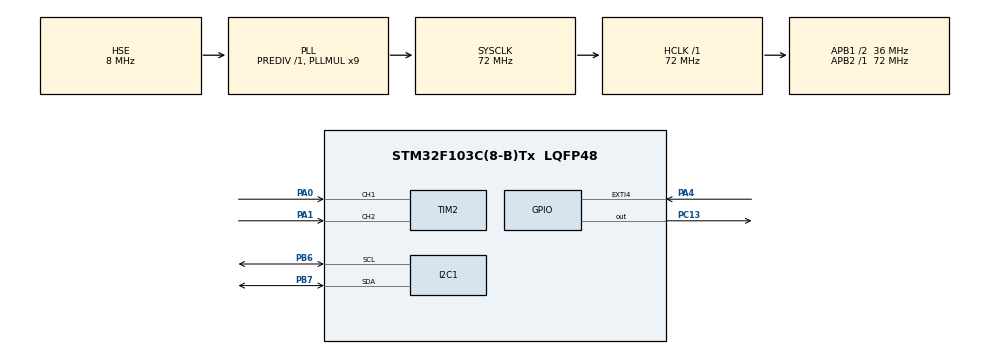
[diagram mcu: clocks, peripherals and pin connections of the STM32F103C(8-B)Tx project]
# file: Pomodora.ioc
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I2C1.I2C_Mode=I2C_Fast
Mcu.Family=STM32F1
Mcu.Name=STM32F103C(8-B)Tx
Mcu.Package=LQFP48
NVIC.EXTI4_IRQn=true\:0\:0\:false\:false\:true\:true\:true\:true
NVIC.PriorityGroup=NVIC_PRIORITYGROUP_4
NVIC.TIM2_IRQn=true\:0\:0\:false\:false\:true\:true\:true\:true
PA0-WKUP.Signal=S_TIM2_CH1_ETR
PA1.Signal=S_TIM2_CH2
PA13.Mode=Serial_Wire
PA13.Signal=SYS_JTMS-SWDIO
PA14.Mode=Serial_Wire
PA14.Signal=SYS_JTCK-SWCLK
PA4.GPIO_ModeDefaultEXTI=GPIO_MODE_IT_FALLING
PA4.GPIO_PuPd=GPIO_PULLUP
PA4.Signal=GPXTI4
PB6.Mode=I2C
PB6.Signal=I2C1_SCL
PB7.Mode=I2C
PB7.Signal=I2C1_SDA
PC13-TAMPER-RTC.Signal=GPIO_Output
PD0-OSC_IN.Mode=HSE-External-Oscillator
PD0-OSC_IN.Signal=RCC_OSC_IN
PD1-OSC_OUT.Mode=HSE-External-Oscillator
PD1-OSC_OUT.Signal=RCC_OSC_OUT
ProjectManager.HeapSize=0x200
ProjectManager.StackSize=0x400
ProjectManager.TargetToolchain=STM32CubeIDE
RCC.AHBFreq_Value=72000000
RCC.APB1CLKDivider=RCC_HCLK_DIV2
RCC.APB1Freq_Value=36000000
RCC.APB1TimFreq_Value=72000000
RCC.APB2Freq_Value=72000000
RCC.APB2TimFreq_Value=72000000
RCC.HCLKFreq_Value=72000000
RCC.PLLMUL=RCC_PLL_MUL9
RCC.PLLSourceVirtual=RCC_PLLSOURCE_HSE
RCC.SYSCLKFreq_VALUE=72000000
RCC.SYSCLKSource=RCC_SYSCLKSOURCE_PLLCLK
RCC.USBFreq_Value=72000000
SH.S_TIM2_CH1_ETR.0=TIM2_CH1,Encoder_Interface
SH.S_TIM2_CH2.0=TIM2_CH2,Encoder_Interface
TIM2.EncoderMode=TIM_ENCODERMODE_TI12
TIM2.IC1Polarity=TIM_ICPOLARITY_RISING
TIM2.IC2Polarity=TIM_ICPOLARITY_RISING
board=custom

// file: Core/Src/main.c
/* USER CODE BEGIN Header */
/**
 ******************************************************************************
 * @file           : main.c
 * @brief          : Main program body
 ******************************************************************************
 * @attention
 *
 * Copyright (c) 2024 STMicroelectronics.
 * All rights reserved.
 *
 * This software is licensed under terms that can be found in the LICENSE file
 * in the root directory of this software component.
 * If no LICENSE file comes with this software, it is provided AS-IS.
 *
 ******************************************************************************
 */
/* USER CODE END Header */
#include "main.h"

/* USER CODE BEGIN Includes */
#include "display.h"
#include "fonts.h"
#include "pomodoro.h"
#include "rotaryencoder.h"
#include "ssd1306.h"

/* USER CODE END Includes */

I2C_HandleTypeDef hi2c1;

TIM_HandleTypeDef htim2;

/* USER CODE BEGIN PV */
struct PomodoroState pomodoro;

/* USER CODE END PV */

void SystemClock_Config(void);
static void MX_GPIO_Init(void);
static void MX_TIM2_Init(void);
static void MX_I2C1_Init(void);

/* USER CODE BEGIN 0 */

void HAL_TIM_IC_CaptureCallback(TIM_HandleTypeDef *htim) {
    uint32_t position = __HAL_TIM_GET_COUNTER(htim);
    if (position % 4 == 0) {
        RotaryEncoder_Rotated(position, Pomodoro_IncTime, Pomodoro_DecTime);
    }
}

void HAL_GPIO_EXTI_Callback(uint16_t GPIO_Pin) {
    uint32_t curmilli = HAL_GetTick();

    GPIO_PinState state = HAL_GPIO_ReadPin(GPIOA, GPIO_PIN_4);
    if (GPIO_Pin == GPIO_PIN_4 && state == GPIO_PIN_RESET) {
        RotaryEncoder_ButtonPressed(curmilli, Pomodoro_Select, Pomodoro_Reset);
    }
}

/* USER CODE END 0 */

int main(void) {

    /* MCU Configuration--------------------------------------------------------*/

    /* Reset of all peripherals, Initializes the Flash interface and the Systick. */
    HAL_Init();

    /* Configure the system clock */
    SystemClock_Config();

    /* Initialize all configured peripherals */
    MX_GPIO_Init();
    MX_TIM2_Init();
    MX_I2C1_Init();
    /* USER CODE BEGIN 2 */

    RotaryEncoder_Init();
    Pomodoro_Init(25, 5, 0);
    SSD1306_Init(&hi2c1);
    Display_Init(pomodoro);

    HAL_TIM_Encoder_Start_IT(&htim2, TIM_CHANNEL_ALL);

    /* USER CODE END 2 */

    /* Infinite loop */
    while (1) {

        /* USER CODE BEGIN 3 */
        uint32_t curmilli = HAL_GetTick();

        RotaryEncoder_Sync(curmilli, HAL_GPIO_ReadPin(GPIOA, GPIO_PIN_4) == GPIO_PIN_SET);
        Pomodoro_Sync(curmilli);
        Display_Sync(pomodoro, curmilli);
    }
    /* USER CODE END 3 */
}

void SystemClock_Config(void) {
    RCC_OscInitTypeDef RCC_OscInitStruct = { 0 };
    RCC_ClkInitTypeDef RCC_ClkInitStruct = { 0 };

    /** Initializes the RCC Oscillators according to the specified parameters
     * in the RCC_OscInitTypeDef structure.
     */
    RCC_OscInitStruct.OscillatorType = RCC_OSCILLATORTYPE_HSE;
    RCC_OscInitStruct.HSEState = RCC_HSE_ON;
    RCC_OscInitStruct.HSEPredivValue = RCC_HSE_PREDIV_DIV1;
    RCC_OscInitStruct.HSIState = RCC_HSI_ON;
    RCC_OscInitStruct.PLL.PLLState = RCC_PLL_ON;
    RCC_OscInitStruct.PLL.PLLSource = RCC_PLLSOURCE_HSE;
    RCC_OscInitStruct.PLL.PLLMUL = RCC_PLL_MUL9;
    if (HAL_RCC_OscConfig(&RCC_OscInitStruct) != HAL_OK) {
        Error_Handler();
    }

    /** Initializes the CPU, AHB and APB buses clocks
     */
    RCC_ClkInitStruct.ClockType = RCC_CLOCKTYPE_HCLK | RCC_CLOCKTYPE_SYSCLK
            | RCC_CLOCKTYPE_PCLK1 | RCC_CLOCKTYPE_PCLK2;
    RCC_ClkInitStruct.SYSCLKSource = RCC_SYSCLKSOURCE_PLLCLK;
    RCC_ClkInitStruct.AHBCLKDivider = RCC_SYSCLK_DIV1;
    RCC_ClkInitStruct.APB1CLKDivider = RCC_HCLK_DIV2;
    RCC_ClkInitStruct.APB2CLKDivider = RCC_HCLK_DIV1;

    if (HAL_RCC_ClockConfig(&RCC_ClkInitStruct, FLASH_LATENCY_2) != HAL_OK) {
        Error_Handler();
    }
}

static void MX_I2C1_Init(void) {

    hi2c1.Instance = I2C1;
    hi2c1.Init.ClockSpeed = 400000;
    hi2c1.Init.DutyCycle = I2C_DUTYCYCLE_2;
    hi2c1.Init.OwnAddress1 = 0;
    hi2c1.Init.AddressingMode = I2C_ADDRESSINGMODE_7BIT;
    hi2c1.Init.DualAddressMode = I2C_DUALADDRESS_DISABLE;
    hi2c1.Init.OwnAddress2 = 0;
    hi2c1.Init.GeneralCallMode = I2C_GENERALCALL_DISABLE;
    hi2c1.Init.NoStretchMode = I2C_NOSTRETCH_DISABLE;
    if (HAL_I2C_Init(&hi2c1) != HAL_OK) {
        Error_Handler();
    }

}

static void MX_TIM2_Init(void) {

    TIM_Encoder_InitTypeDef sConfig = { 0 };
    TIM_MasterConfigTypeDef sMasterConfig = { 0 };

    htim2.Instance = TIM2;
    htim2.Init.Prescaler = 0;
    htim2.Init.CounterMode = TIM_COUNTERMODE_UP;
    htim2.Init.Period = 65535;
    htim2.Init.ClockDivision = TIM_CLOCKDIVISION_DIV1;
    htim2.Init.AutoReloadPreload = TIM_AUTORELOAD_PRELOAD_DISABLE;
    sConfig.EncoderMode = TIM_ENCODERMODE_TI12;
    sConfig.IC1Polarity = TIM_ICPOLARITY_RISING;
    sConfig.IC1Selection = TIM_ICSELECTION_DIRECTTI;
    sConfig.IC1Prescaler = TIM_ICPSC_DIV1;
    sConfig.IC1Filter = 0;
    sConfig.IC2Polarity = TIM_ICPOLARITY_RISING;
    sConfig.IC2Selection = TIM_ICSELECTION_DIRECTTI;
    sConfig.IC2Prescaler = TIM_ICPSC_DIV1;
    sConfig.IC2Filter = 0;
    if (HAL_TIM_Encoder_Init(&htim2, &sConfig) != HAL_OK) {
        Error_Handler();
    }
    sMasterConfig.MasterOutputTrigger = TIM_TRGO_RESET;
    sMasterConfig.MasterSlaveMode = TIM_MASTERSLAVEMODE_DISABLE;
    if (HAL_TIMEx_MasterConfigSynchronization(&htim2, &sMasterConfig)
            != HAL_OK) {
        Error_Handler();
    }

}

static void MX_GPIO_Init(void) {
    GPIO_InitTypeDef GPIO_InitStruct = { 0 };

    /* GPIO Ports Clock Enable */
    __HAL_RCC_GPIOC_CLK_ENABLE();
    __HAL_RCC_GPIOD_CLK_ENABLE();
    __HAL_RCC_GPIOA_CLK_ENABLE();
    __HAL_RCC_GPIOB_CLK_ENABLE();

    /*Configure GPIO pin Output Level */
    HAL_GPIO_WritePin(GPIOC, GPIO_PIN_13, GPIO_PIN_RESET);

    /*Configure GPIO pin : PC13 */
    GPIO_InitStruct.Pin = GPIO_PIN_13;
    GPIO_InitStruct.Mode = GPIO_MODE_OUTPUT_PP;
    GPIO_InitStruct.Pull = GPIO_NOPULL;
    GPIO_InitStruct.Speed = GPIO_SPEED_FREQ_LOW;
    HAL_GPIO_Init(GPIOC, &GPIO_InitStruct);

    /*Configure GPIO pin : PA4 */
    GPIO_InitStruct.Pin = GPIO_PIN_4;
    GPIO_InitStruct.Mode = GPIO_MODE_IT_FALLING;
    GPIO_InitStruct.Pull = GPIO_PULLUP;
    HAL_GPIO_Init(GPIOA, &GPIO_InitStruct);

    /* EXTI interrupt init*/
    HAL_NVIC_SetPriority(EXTI4_IRQn, 0, 0);
    HAL_NVIC_EnableIRQ(EXTI4_IRQn);

}

void Error_Handler(void) {
    __disable_irq();
    while (1) {
    }
}
